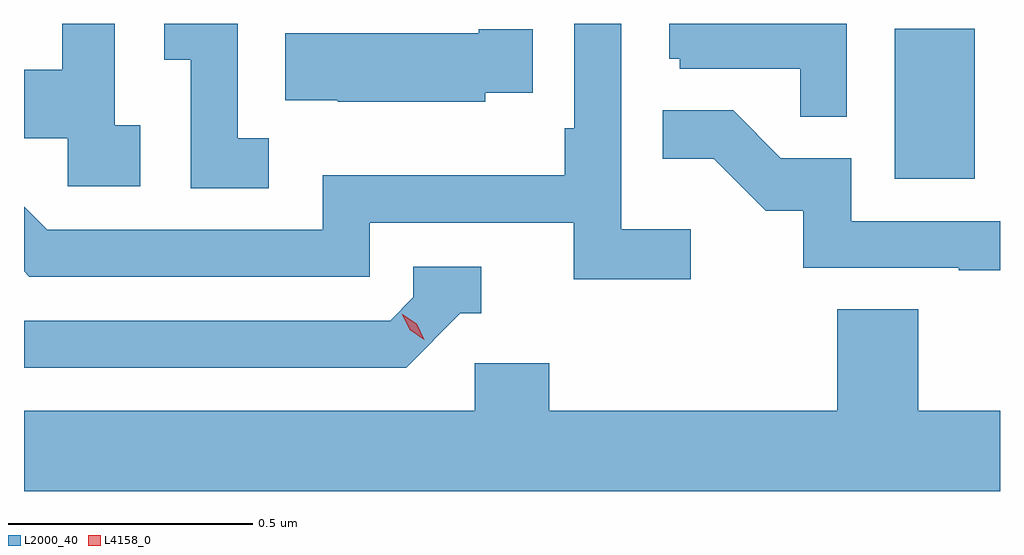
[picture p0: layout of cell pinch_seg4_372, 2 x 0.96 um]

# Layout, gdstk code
import gdstk
lib = gdstk.Library(unit=1e-6, precision=1e-09)
def R(c, l, rs):  # rectangles x0, y0, x1, y1
    for r in rs: c.add(gdstk.rectangle(r[:2], r[2:], *l))
def P(c, l, *ps):  # polygons
    for p in ps: c.add(gdstk.Polygon(p, *l))
L2000_40 = (2000, 40)
L4158_0 = (4158, 0)

pinch_seg4_372 = lib.new_cell('pinch_seg4_372')
R(pinch_seg4_372, L2000_40, [(972.332,805.452,972.496,805.759)])
P(pinch_seg4_372, L2000_40, [(970.786,805.562),(970.734,805.562),(970.734,805.769),(970.626,805.769),(970.626,805.675),(970.548,805.675),(970.548,805.535),(970.638,805.535),(970.638,805.437),(970.786,805.437)],
  [(971.914,805.348),(971.772,805.348),(971.772,805.769),(971.676,805.769),(971.676,805.555),(971.656,805.555),(971.656,805.459),(971.16,805.459),(971.16,805.347),(970.596,805.347),(970.548,805.395),(970.548,805.262),(970.559,805.251),(971.256,805.251),(971.256,805.362),(971.675,805.362),(971.675,805.246),(971.914,805.246)],
  [(972.234,805.769),(971.87,805.769),(971.87,805.698),(971.892,805.698),(971.892,805.677),(972.139,805.677),(972.139,805.579),(972.234,805.579)],
  [(971.05,805.535),(970.986,805.535),(970.986,805.769),(970.835,805.769),(970.835,805.696),(970.89,805.696),(970.89,805.432),(971.05,805.432)],
  [(971.493,805.628),(971.591,805.628),(971.591,805.758),(971.48,805.758),(971.48,805.75),(971.083,805.75),(971.083,805.613),(971.191,805.613),(971.191,805.61),(971.493,805.61)],
  [(972.548,805.365),(972.243,805.365),(972.243,805.494),(972.099,805.494),(972.001,805.592),(971.857,805.592),(971.857,805.493),(971.961,805.493),(972.068,805.386),(972.145,805.386),(972.145,805.269),(972.463,805.269),(972.463,805.264),(972.548,805.264)],
  [(971.442,805.176),(971.485,805.176),(971.485,805.272),(971.346,805.272),(971.346,805.209),(971.298,805.161),(970.548,805.161),(970.548,805.065),(971.331,805.065)],
  [(971.472,805.074),(971.472,804.976),(970.548,804.976),(970.548,804.812),(972.548,804.812),(972.548,804.976),(972.38,804.976),(972.38,805.184),(972.215,805.184),(972.215,804.976),(971.624,804.976),(971.624,805.074)])
P(pinch_seg4_372, L4158_0, [(971.368,805.122),(971.338,805.142),(971.322,805.175),(971.322,805.175),(971.322,805.175),(971.353,805.155),(971.368,805.122),(971.368,805.122)])

lib.write_gds('pinch_seg4_372.gds')
